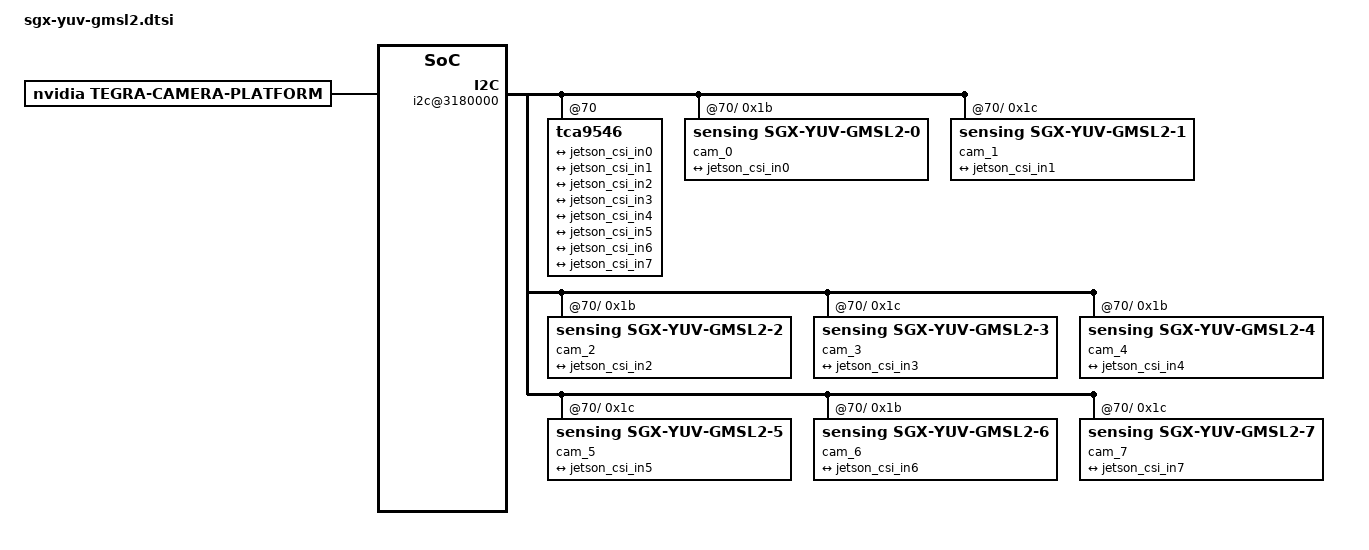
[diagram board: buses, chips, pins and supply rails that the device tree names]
/*
 * Copyright (c) 2018-2021, NVIDIA CORPORATION.  All rights reserved.
 *
 * This program is free software; you can redistribute it and/or modify it
 * under the terms and conditions of the GNU General Public License,
 * version 2, as published by the Free Software Foundation.
 *
 * This program is distributed in the hope it will be useful, but WITHOUT
 * ANY WARRANTY; without even the implied warranty of MERCHANTABILITY or
 * FITNESS FOR A PARTICULAR PURPOSE.  See the GNU General Public License for
 * more details.
 *
 * You should have received a copy of the GNU General Public License
 * along with this program.  If not, see <http://www.gnu.org/licenses/>.
 */

/ {
	tegra-capture-vi {
		num-channels = <8>;
		ports {
			#address-cells = <1>;
			#size-cells = <0>;
			port@0 {
				reg = <0>;
				jetson_vi_in0: endpoint {
					vc-id = <1>;
					port-index = <0>;
					bus-width = <4>;
					remote-endpoint = <&jetson_csi_out0>;
				};
			};
			port@1 {
				reg = <1>;
				jetson_vi_in1: endpoint {
					vc-id = <2>;
					port-index = <0>;
					bus-width = <4>;
					remote-endpoint = <&jetson_csi_out1>;
				};
			};
			port@2 {
				reg = <2>;
				jetson_vi_in2: endpoint {
					vc-id = <1>;
					port-index = <2>;
					bus-width = <4>;
					remote-endpoint = <&jetson_csi_out2>;
				};
			};
			port@3 {
				reg = <3>;
				jetson_vi_in3: endpoint {
					vc-id = <2>;
					port-index = <2>;
					bus-width = <4>;
					remote-endpoint = <&jetson_csi_out3>;
				};
			};
			port@4 {
				reg = <4>;
				jetson_vi_in4: endpoint {
					vc-id = <1>;
					port-index = <4>;
					bus-width = <4>;
					remote-endpoint = <&jetson_csi_out4>;
				};
			};
			port@5 {
				reg = <5>;
				jetson_vi_in5: endpoint {
					vc-id = <2>;
					port-index = <4>;
					bus-width = <4>;
					remote-endpoint = <&jetson_csi_out5>;
				};
			};
			port@6 {
				reg = <6>;
				jetson_vi_in6: endpoint {
					vc-id = <1>;
					port-index = <5>;
					bus-width = <4>;
					remote-endpoint = <&jetson_csi_out6>;
				};
			};
			port@7 {
				reg = <7>;
				jetson_vi_in7: endpoint {
					vc-id = <2>;
					port-index = <5>;
					bus-width = <4>;
					remote-endpoint = <&jetson_csi_out7>;
				};
			};
		};
	};
    bus@0 {
        host1x@13e00000 {
	    	nvcsi@15a00000 {
	    		num-channels = <8>;
	    		#address-cells = <1>;
	    		#size-cells = <0>;
	    		channel@0 {
	    			reg = <0>;
	    			ports {
	    				#address-cells = <1>;
	    				#size-cells = <0>;
	    				port@0 {
	    					reg = <0>;
	    					jetson_csi_in0: endpoint@0 {
	    						port-index = <0>;
	    						bus-width = <4>;
	    						remote-endpoint = <&sensor_out0>;
	    					};
	    				};
	    				port@1 {
	    					reg = <1>;
	    					jetson_csi_out0: endpoint@1 {
	    						remote-endpoint = <&jetson_vi_in0>;
	    					};
	    				};
	    			};
	    		};
	    		channel@1 {
	    			reg = <1>;
	    			ports {
	    				#address-cells = <1>;
	    				#size-cells = <0>;
	    				port@0 {
	    					reg = <0>;
	    					jetson_csi_in1: endpoint@2 {
	    						port-index = <0>;
	    						bus-width = <4>;
	    						remote-endpoint = <&sensor_out1>;
	    					};
	    				};
	    				port@1 {
	    					reg = <1>;
	    					jetson_csi_out1: endpoint@3 {
	    						remote-endpoint = <&jetson_vi_in1>;
	    					};
	    				};
	    			};
	    		};
	    		channel@2 {
	    			reg = <2>;
	    			ports {
	    				#address-cells = <1>;
	    				#size-cells = <0>;
	    				port@0 {
	    					reg = <0>;
	    					jetson_csi_in2: endpoint@4 {
	    						port-index = <2>;
	    						bus-width = <4>;
	    						remote-endpoint = <&sensor_out2>;
	    					};
	    				};
	    				port@1 {
	    					reg = <1>;
	    					jetson_csi_out2: endpoint@5 {
	    						remote-endpoint = <&jetson_vi_in2>;
	    					};
	    				};
	    			};
	    		};
	    		channel@3 {
	    			reg = <3>;
	    			ports {
	    				#address-cells = <1>;
	    				#size-cells = <0>;
	    				port@0 {
	    					reg = <0>;
	    					jetson_csi_in3: endpoint@6 {
	    						port-index = <2>;
	    						bus-width = <4>;
	    						remote-endpoint = <&sensor_out3>;
	    					};
	    				};
	    				port@1 {
	    					reg = <1>;
	    					jetson_csi_out3: endpoint@7 {
	    						remote-endpoint = <&jetson_vi_in3>;
	    					};
	    				};
	    			};
	    		};
	    		channel@4 {
	    			reg = <4>;
	    			ports {
	    				#address-cells = <1>;
	    				#size-cells = <0>;
	    				port@0 {
	    					reg = <0>;
	    					jetson_csi_in4: endpoint@8 {
	    						port-index = <4>;
	    						bus-width = <4>;
	    						remote-endpoint = <&sensor_out4>;
	    					};
	    				};
	    				port@1 {
	    					reg = <1>;
	    					jetson_csi_out4: endpoint@9 {
	    						remote-endpoint = <&jetson_vi_in4>;
	    					};
	    				};
	    			};
	    		};
	    		channel@5 {
	    			reg = <5>;
	    			ports {
	    				#address-cells = <1>;
	    				#size-cells = <0>;
	    				port@0 {
	    					reg = <0>;
	    					jetson_csi_in5: endpoint@10 {
	    						port-index = <4>;
	    						bus-width = <4>;
	    						remote-endpoint = <&sensor_out5>;
	    					};
	    				};
	    				port@1 {
	    					reg = <1>;
	    					jetson_csi_out5: endpoint@11 {
	    						remote-endpoint = <&jetson_vi_in5>;
	    					};
	    				};
	    			};
	    		};
	    		channel@6 {
	    			reg = <6>;
	    			ports {
	    				#address-cells = <1>;
	    				#size-cells = <0>;
	    				port@0 {
	    					reg = <0>;
	    					jetson_csi_in6: endpoint@12 {
	    						port-index = <6>;
	    						bus-width = <4>;
	    						remote-endpoint = <&sensor_out6>;
	    					};
	    				};
	    				port@1 {
	    					reg = <1>;
	    					jetson_csi_out6: endpoint@13 {
	    						remote-endpoint = <&jetson_vi_in6>;
	    					};
	    				};
	    			};
	    		};
	    		channel@7 {
	    			reg = <7>;
	    			ports {
	    				#address-cells = <1>;
	    				#size-cells = <0>;
	    				port@0 {
	    					reg = <0>;
	    					jetson_csi_in7: endpoint@14 {
	    						port-index = <6>;
	    						bus-width = <4>;
	    						remote-endpoint = <&sensor_out7>;
	    					};
	    				};
	    				port@1 {
	    					reg = <1>;
	    					jetson_csi_out7: endpoint@15 {
	    						remote-endpoint = <&jetson_vi_in7>;
	    					};
	    				};
	    			};
	    		};
	    	};
	    };

	    i2c@3180000 {
	    	tca9546@70 {
	    		i2c@0 {
	    			cam_0@1b {
	    				compatible = "sensing,sgx-yuv-gmsl2-0";
	    				reg = <0x1b>;
	    				def-addr = <0x1a>;
	    				devnode = "video0";

	    				/* Physical dimensions of sensor */
	    				physical_w = "15.0";
	    				physical_h = "12.5";

	    				sensor_model ="sgx-yuv-gmsl2";

	    				/* Defines number of frames to be dropped by driver internally after applying */
	    				/* sensor crop settings. Some sensors send corrupt frames after applying */
	    				/* crop co-ordinates */
	    				post_crop_frame_drop = "0";

	    				/* Convert Gain to unit of dB (decibel) befor passing to kernel driver */
	    				use_decibel_gain = "true";

	    				/* enable CID_SENSOR_MODE_ID for sensor modes selection */
	    				use_sensor_mode_id = "true";

	    				mode0 {//mode SENSOR_MODE_1920X1080_CROP_30FPS
	    					mclk_khz = "24000";
	    					num_lanes = "4";
	    					tegra_sinterface = "serial_a";
	    					vc_id = "2";
	    					discontinuous_clk = "no";
	    					dpcm_enable = "false";
	    					cil_settletime = "0";
	    					dynamic_pixel_bit_depth = "16";
	    					csi_pixel_bit_depth = "16";
	    					mode_type = "yuv";
	    					pixel_phase = "uyvy";
    
	    					active_w = "1920";
	    					active_h = "1080";
	    					readout_orientation = "0";
	    					line_length = "2200";
	    					inherent_gain = "1";
	    					pix_clk_hz = "74250000";
	    					serdes_pix_clk_hz = "300000000";

	    					gain_factor = "1000";
	    					min_gain_val = "1"; /* dB */
	    					max_gain_val = "30000"; /* dB */
	    					step_gain_val = "300"; /* 0.3 */
	    					default_gain = "1";
	    					min_hdr_ratio = "1";
	    					max_hdr_ratio = "1";
	    					framerate_factor = "1000000";
	    					min_framerate = "30000000";
	    					max_framerate = "30000000";
	    					step_framerate = "1";
	    					default_framerate = "30000000";
	    					exposure_factor = "1000000";
	    					min_exp_time = "59"; /*us, 2 lines*/
	    					max_exp_time = "33333";
	    					step_exp_time = "1";
	    					default_exp_time = "33333";/* us */
	    					embedded_metadata_height = "0";
	    				};
	    				mode1 {//sg2-gmsl2-gw5xxx(1920*1536)
	    					mclk_khz = "24000";
	    					num_lanes = "4";
	    					tegra_sinterface = "serial_a";
	    					vc_id = "1";
	    					discontinuous_clk = "no";
	    					dpcm_enable = "false";
	    					cil_settletime = "0";
	    					dynamic_pixel_bit_depth = "16";
	    					csi_pixel_bit_depth = "16";
	    					mode_type = "yuv";
	    					pixel_phase = "uyvy";
    
	    					active_w = "1920";
	    					active_h = "1536";
	    					readout_orientation = "0";
	    					line_length = "2200";
	    					inherent_gain = "1";
	    					pix_clk_hz = "200000000";
	    					serdes_pix_clk_hz = "200000000";

	    					gain_factor = "1000";
	    					min_gain_val = "1"; /* dB */
	    					max_gain_val = "30000"; /* dB */
	    					step_gain_val = "300"; /* 0.3 */
	    					default_gain = "1";
	    					min_hdr_ratio = "1";
	    					max_hdr_ratio = "1";
	    					framerate_factor = "1000000";
	    					min_framerate = "30000000";
	    					max_framerate = "30000000";
	    					step_framerate = "1";
	    					default_framerate = "30000000";
	    					exposure_factor = "1000000";
	    					min_exp_time = "59"; /*us, 2 lines*/
	    					max_exp_time = "33333";
	    					step_exp_time = "1";
	    					default_exp_time = "33333";/* us */
	    					embedded_metadata_height = "0";
	    				};
	    				mode2 {//sg2-gmsl2-gw5xxx(2880*1680)
	    					mclk_khz = "24000";
	    					num_lanes = "4";
	    					tegra_sinterface = "serial_a";
	    					vc_id = "1";
	    					discontinuous_clk = "no";
	    					dpcm_enable = "false";
	    					cil_settletime = "0";
	    					dynamic_pixel_bit_depth = "16";
	    					csi_pixel_bit_depth = "16";
	    					mode_type = "yuv";
	    					pixel_phase = "uyvy";
    
	    					active_w = "2880";
	    					active_h = "1860";
	    					readout_orientation = "0";
	    					line_length = "3200";
	    					inherent_gain = "1";
	    					pix_clk_hz = "300000000";
	    					serdes_pix_clk_hz = "400000000";

	    					gain_factor = "1000";
	    					min_gain_val = "1"; /* dB */
	    					max_gain_val = "30000"; /* dB */
	    					step_gain_val = "300"; /* 0.3 */
	    					default_gain = "1";
	    					min_hdr_ratio = "1";
	    					max_hdr_ratio = "1";
	    					framerate_factor = "1000000";
	    					min_framerate = "30000000";
	    					max_framerate = "30000000";
	    					step_framerate = "1";
	    					default_framerate = "30000000";
	    					exposure_factor = "1000000";
	    					min_exp_time = "59"; /*us, 2 lines*/
	    					max_exp_time = "33333";
	    					step_exp_time = "1";
	    					default_exp_time = "33333";/* us */
	    					embedded_metadata_height = "0";
	    				};
	    				mode3 {//sg2-gmsl2-gw5xxx(3840*2160)
	    					mclk_khz = "24000";
	    					num_lanes = "4";
	    					tegra_sinterface = "serial_a";
	    					vc_id = "1";
	    					discontinuous_clk = "no";
	    					dpcm_enable = "false";
	    					cil_settletime = "0";
	    					dynamic_pixel_bit_depth = "16";
	    					csi_pixel_bit_depth = "16";
	    					mode_type = "yuv";
	    					pixel_phase = "uyvy";
	    					//
	    					active_w = "3840";
	    					active_h = "2160";
	    					readout_orientation = "0";
	    					line_length = "4200";
	    					inherent_gain = "1";
	    					pix_clk_hz = "320000000";
	    					serdes_pix_clk_hz = "600000000";

	    					gain_factor = "1000";
	    					min_gain_val = "1"; /* dB */
	    					max_gain_val = "30000"; /* dB */
	    					step_gain_val = "300"; /* 0.3 */
	    					default_gain = "1";
	    					min_hdr_ratio = "1";
	    					max_hdr_ratio = "1";
	    					framerate_factor = "1000000";
	    					min_framerate = "30000000";
	    					max_framerate = "30000000";
	    					step_framerate = "1";
	    					default_framerate = "30000000";
	    					exposure_factor = "1000000";
	    					min_exp_time = "59"; /*us, 2 lines*/
	    					max_exp_time = "33333";
	    					step_exp_time = "1";
	    					default_exp_time = "33333";/* us */
	    					embedded_metadata_height = "0";
	    				};
	    				ports {
	    					#address-cells = <1>;
	    					#size-cells = <0>;
	    					port@0 {
	    						reg = <0>;
	    						sensor_out0: endpoint {
	    							vc-id = <1>;
	    							port-index = <0>;
	    							bus-width = <4>;
	    							remote-endpoint = <&jetson_csi_in0>;
	    						};
	    					};
	    				};
	    				gmsl-link {
	    					src-csi-port = "b";
	    					dst-csi-port = "a";
	    					serdes-csi-link = "a";
	    					csi-mode = "1x4";
	    					st-vc = <0>;
	    					vc-id = <1>;
	    					num-lanes = <4>;
	    					streams = "ued-u1","yuv16";
	    				};
	    			};
	    			cam_1@1c {
	    				compatible = "sensing,sgx-yuv-gmsl2-1";
	    				reg = <0x1c>;
	    				def-addr = <0x1a>;
	    				devnode = "video1";

	    				/* Physical dimensions of sensor */
	    				physical_w = "15.0";
	    				physical_h = "12.5";

	    				sensor_model ="sgx-yuv-gmsl2";

	    				/* Defines number of frames to be dropped by driver internally after applying */
	    				/* sensor crop settings. Some sensors send corrupt frames after applying */
	    				/* crop co-ordinates */
	    				post_crop_frame_drop = "0";

	    				/* Convert Gain to unit of dB (decibel) befor passing to kernel driver */
	    				use_decibel_gain = "true";

	    				/* enable CID_SENSOR_MODE_ID for sensor modes selection */
	    				use_sensor_mode_id = "true";

	    				mode0 {//mode SENSOR_MODE_1920X1080_CROP_30FPS
	    					mclk_khz = "24000";
	    					num_lanes = "4";
	    					tegra_sinterface = "serial_a";
	    					vc_id = "2";
	    					discontinuous_clk = "no";
	    					dpcm_enable = "false";
	    					cil_settletime = "0";
	    					dynamic_pixel_bit_depth = "16";
	    					csi_pixel_bit_depth = "16";
	    					mode_type = "yuv";
	    					pixel_phase = "uyvy";
    
	    					active_w = "1920";
	    					active_h = "1080";
	    					readout_orientation = "0";
	    					line_length = "2200";
	    					inherent_gain = "1";
	    					pix_clk_hz = "74250000";
	    					serdes_pix_clk_hz = "300000000";

	    					gain_factor = "1000";
	    					min_gain_val = "1"; /* dB */
	    					max_gain_val = "30000"; /* dB */
	    					step_gain_val = "300"; /* 0.3 */
	    					default_gain = "1";
	    					min_hdr_ratio = "1";
	    					max_hdr_ratio = "1";
	    					framerate_factor = "1000000";
	    					min_framerate = "30000000";
	    					max_framerate = "30000000";
	    					step_framerate = "1";
	    					default_framerate = "30000000";
	    					exposure_factor = "1000000";
	    					min_exp_time = "59"; /*us, 2 lines*/
	    					max_exp_time = "33333";
	    					step_exp_time = "1";
	    					default_exp_time = "33333";/* us */
	    					embedded_metadata_height = "0";
	    				};
	    				mode1 {//sg2-gmsl2-gw5xxx(1920*1536)
	    					mclk_khz = "24000";
	    					num_lanes = "4";
	    					tegra_sinterface = "serial_a";
	    					vc_id = "2";
	    					discontinuous_clk = "no";
	    					dpcm_enable = "false";
	    					cil_settletime = "0";
	    					dynamic_pixel_bit_depth = "16";
	    					csi_pixel_bit_depth = "16";
	    					mode_type = "yuv";
	    					pixel_phase = "uyvy";
    
	    					active_w = "1920";
	    					active_h = "1536";
	    					readout_orientation = "0";
	    					line_length = "2200";
	    					inherent_gain = "1";
	    					pix_clk_hz = "200000000";
	    					serdes_pix_clk_hz = "200000000";

	    					gain_factor = "1000";
	    					min_gain_val = "1"; /* dB */
	    					max_gain_val = "30000"; /* dB */
	    					step_gain_val = "300"; /* 0.3 */
	    					default_gain = "1";
	    					min_hdr_ratio = "1";
	    					max_hdr_ratio = "1";
	    					framerate_factor = "1000000";
	    					min_framerate = "30000000";
	    					max_framerate = "30000000";
	    					step_framerate = "1";
	    					default_framerate = "30000000";
	    					exposure_factor = "1000000";
	    					min_exp_time = "59"; /*us, 2 lines*/
	    					max_exp_time = "33333";
	    					step_exp_time = "1";
	    					default_exp_time = "33333";/* us */
	    					embedded_metadata_height = "0";
	    				};
	    				mode2 {//sg2-gmsl2-gw5xxx(2880*1680)
	    					mclk_khz = "24000";
	    					num_lanes = "4";
	    					tegra_sinterface = "serial_a";
	    					vc_id = "2";
	    					discontinuous_clk = "no";
	    					dpcm_enable = "false";
	    					cil_settletime = "0";
	    					dynamic_pixel_bit_depth = "16";
	    					csi_pixel_bit_depth = "16";
	    					mode_type = "yuv";
	    					pixel_phase = "uyvy";
    
	    					active_w = "2880";
	    					active_h = "1860";
	    					readout_orientation = "0";
	    					line_length = "3200";
	    					inherent_gain = "1";
	    					pix_clk_hz = "300000000";
	    					serdes_pix_clk_hz = "400000000";

	    					gain_factor = "1000";
	    					min_gain_val = "1"; /* dB */
	    					max_gain_val = "30000"; /* dB */
	    					step_gain_val = "300"; /* 0.3 */
	    					default_gain = "1";
	    					min_hdr_ratio = "1";
	    					max_hdr_ratio = "1";
	    					framerate_factor = "1000000";
	    					min_framerate = "30000000";
	    					max_framerate = "30000000";
	    					step_framerate = "1";
	    					default_framerate = "30000000";
	    					exposure_factor = "1000000";
	    					min_exp_time = "59"; /*us, 2 lines*/
	    					max_exp_time = "33333";
	    					step_exp_time = "1";
	    					default_exp_time = "33333";/* us */
	    					embedded_metadata_height = "0";
	    				};
	    				mode3 {//sg2-gmsl2-gw5xxx(3840*2160)
	    					mclk_khz = "24000";
	    					num_lanes = "4";
	    					tegra_sinterface = "serial_a";
	    					vc_id = "2";
	    					discontinuous_clk = "no";
	    					dpcm_enable = "false";
	    					cil_settletime = "0";
	    					dynamic_pixel_bit_depth = "16";
	    					csi_pixel_bit_depth = "16";
	    					mode_type = "yuv";
	    					pixel_phase = "uyvy";
	    					//
	    					active_w = "3840";
	    					active_h = "2160";
	    					readout_orientation = "0";
	    					line_length = "4200";
	    					inherent_gain = "1";
	    					pix_clk_hz = "320000000";
	    					serdes_pix_clk_hz = "600000000";

	    					gain_factor = "1000";
	    					min_gain_val = "1"; /* dB */
	    					max_gain_val = "30000"; /* dB */
	    					step_gain_val = "300"; /* 0.3 */
	    					default_gain = "1";
	    					min_hdr_ratio = "1";
	    					max_hdr_ratio = "1";
	    					framerate_factor = "1000000";
	    					min_framerate = "30000000";
	    					max_framerate = "30000000";
	    					step_framerate = "1";
	    					default_framerate = "30000000";
	    					exposure_factor = "1000000";
	    					min_exp_time = "59"; /*us, 2 lines*/
	    					max_exp_time = "33333";
	    					step_exp_time = "1";
	    					default_exp_time = "33333";/* us */
	    					embedded_metadata_height = "0";
	    				};
    
	    				ports {
	    					#address-cells = <1>;
	    					#size-cells = <0>;
	    					port@0 {
	    						reg = <0>;
	    						sensor_out1: endpoint {
	    							vc-id = <2>;
	    							port-index = <0>;
	    							bus-width = <4>;
	    							remote-endpoint = <&jetson_csi_in1>;
	    						};
	    					};
	    				};
	    				gmsl-link {
	    					src-csi-port = "b";
	    					dst-csi-port = "a";
	    					serdes-csi-link = "b";
	    					csi-mode = "1x4";
	    					st-vc = <0>;
	    					vc-id = <2>;
	    					num-lanes = <4>;
	    					streams =  "ued-u1", "yuv16";
	    				};
	    			};
	    		};
	    		i2c@1 {
	    			cam_2@1b {
	    				compatible = "sensing,sgx-yuv-gmsl2-2";
	    				reg = <0x1b>;
	    				def-addr = <0x1a>;
	    				devnode = "video2";

	    				/* Physical dimensions of sensor */
	    				physical_w = "15.0";
	    				physical_h = "12.5";

	    				sensor_model ="sgx-yuv-gmsl2";

	    				/* Defines number of frames to be dropped by driver internally after applying */
	    				/* sensor crop settings. Some sensors send corrupt frames after applying */
	    				/* crop co-ordinates */
	    				post_crop_frame_drop = "0";

	    				/* Convert Gain to unit of dB (decibel) befor passing to kernel driver */
	    				use_decibel_gain = "true";

	    				/* enable CID_SENSOR_MODE_ID for sensor modes selection */
	    				use_sensor_mode_id = "true";

	    				mode0 {/*mode SENSOR_MODE_1920X1080_CROP_30FPS*/
	    					mclk_khz = "24000";
	    					num_lanes = "4";
	    					tegra_sinterface = "serial_c";
	    					vc_id = "1";
	    					discontinuous_clk = "no";
	    					dpcm_enable = "false";
	    					cil_settletime = "0";
	    					dynamic_pixel_bit_depth = "16";
	    					csi_pixel_bit_depth = "16";
	    					mode_type = "yuv";
	    					pixel_phase = "uyvy";
    
	    					active_w = "1920";
	    					active_h = "1080";
	    					readout_orientation = "0";
	    					line_length = "2200";
	    					inherent_gain = "1";
	    					pix_clk_hz = "150000000";
	    					serdes_pix_clk_hz = "300000000";

	    					gain_factor = "1000";
	    					min_gain_val = "1"; /* dB */
	    					max_gain_val = "30000"; /* dB */
	    					step_gain_val = "300"; /* 0.3 */
	    					default_gain = "1";
	    					min_hdr_ratio = "1";
	    					max_hdr_ratio = "1";
	    					framerate_factor = "1000000";
	    					min_framerate = "30000000";
	    					max_framerate = "30000000";
	    					step_framerate = "1";
	    					default_framerate = "30000000";
	    					exposure_factor = "1000000";
	    					min_exp_time = "59"; /*us, 2 lines*/
	    					max_exp_time = "33333";
	    					step_exp_time = "1";
	    					default_exp_time = "33333";/* us */
	    					embedded_metadata_height = "0";
	    				};
	    				mode1 {//sg2-gmsl2-gw5xxx(1920*1536)
	    					mclk_khz = "24000";
	    					num_lanes = "4";
	    					tegra_sinterface = "serial_c";
	    					vc_id = "1";
	    					discontinuous_clk = "no";
	    					dpcm_enable = "false";
	    					cil_settletime = "0";
	    					dynamic_pixel_bit_depth = "16";
	    					csi_pixel_bit_depth = "16";
	    					mode_type = "yuv";
	    					pixel_phase = "uyvy";
    
	    					active_w = "1920";
	    					active_h = "1536";
	    					readout_orientation = "0";
	    					line_length = "2200";
	    					inherent_gain = "1";
	    					pix_clk_hz = "200000000";
	    					serdes_pix_clk_hz = "200000000";

	    					gain_factor = "1000";
	    					min_gain_val = "1"; /* dB */
	    					max_gain_val = "30000"; /* dB */
	    					step_gain_val = "300"; /* 0.3 */
	    					default_gain = "1";
	    					min_hdr_ratio = "1";
	    					max_hdr_ratio = "1";
	    					framerate_factor = "1000000";
	    					min_framerate = "30000000";
	    					max_framerate = "30000000";
	    					step_framerate = "1";
	    					default_framerate = "30000000";
	    					exposure_factor = "1000000";
	    					min_exp_time = "59"; /*us, 2 lines*/
	    					max_exp_time = "33333";
	    					step_exp_time = "1";
	    					default_exp_time = "33333";/* us */
	    					embedded_metadata_height = "0";
	    				};
	    				mode2 {//sg2-gmsl2-gw5xxx(2880*1680)
	    					mclk_khz = "24000";
	    					num_lanes = "4";
	    					tegra_sinterface = "serial_c";
	    					vc_id = "1";
	    					discontinuous_clk = "no";
	    					dpcm_enable = "false";
	    					cil_settletime = "0";
	    					dynamic_pixel_bit_depth = "16";
	    					csi_pixel_bit_depth = "16";
	    					mode_type = "yuv";
	    					pixel_phase = "uyvy";
    
	    					active_w = "2880";
	    					active_h = "1860";
	    					readout_orientation = "0";
	    					line_length = "3200";
	    					inherent_gain = "1";
	    					pix_clk_hz = "300000000";
	    					serdes_pix_clk_hz = "400000000";

	    					gain_factor = "1000";
	    					min_gain_val = "1"; /* dB */
	    					max_gain_val = "30000"; /* dB */
	    					step_gain_val = "300"; /* 0.3 */
	    					default_gain = "1";
	    					min_hdr_ratio = "1";
	    					max_hdr_ratio = "1";
	    					framerate_factor = "1000000";
	    					min_framerate = "30000000";
	    					max_framerate = "30000000";
	    					step_framerate = "1";
	    					default_framerate = "30000000";
	    					exposure_factor = "1000000";
	    					min_exp_time = "59"; /*us, 2 lines*/
	    					max_exp_time = "33333";
	    					step_exp_time = "1";
	    					default_exp_time = "33333";/* us */
	    					embedded_metadata_height = "0";
	    				};
	    				mode3 {//sg2-gmsl2-gw5xxx(3840*2160)
	    					mclk_khz = "24000";
	    					num_lanes = "4";
	    					tegra_sinterface = "serial_c";
	    					vc_id = "1";
	    					discontinuous_clk = "no";
	    					dpcm_enable = "false";
	    					cil_settletime = "0";
	    					dynamic_pixel_bit_depth = "16";
	    					csi_pixel_bit_depth = "16";
	    					mode_type = "yuv";
	    					pixel_phase = "uyvy";
	    					//
	    					active_w = "3840";
	    					active_h = "2160";
	    					readout_orientation = "0";
	    					line_length = "4200";
	    					inherent_gain = "1";
	    					pix_clk_hz = "320000000";
	    					serdes_pix_clk_hz = "600000000";

	    					gain_factor = "1000";
	    					min_gain_val = "1"; /* dB */
	    					max_gain_val = "30000"; /* dB */
	    					step_gain_val = "300"; /* 0.3 */
	    					default_gain = "1";
	    					min_hdr_ratio = "1";
	    					max_hdr_ratio = "1";
	    					framerate_factor = "1000000";
	    					min_framerate = "30000000";
	    					max_framerate = "30000000";
	    					step_framerate = "1";
	    					default_framerate = "30000000";
	    					exposure_factor = "1000000";
	    					min_exp_time = "59"; /*us, 2 lines*/
	    					max_exp_time = "33333";
	    					step_exp_time = "1";
	    					default_exp_time = "33333";/* us */
	    					embedded_metadata_height = "0";
	    				};
	    				ports {
	    					#address-cells = <1>;
	    					#size-cells = <0>;
	    					port@0 {
	    						reg = <0>;
	    						sensor_out2: endpoint {
	    							vc-id = <1>;
	    							port-index = <2>;
	    							bus-width = <4>;
	    							remote-endpoint = <&jetson_csi_in2>;
	    						};
	    					};
	    				};
	    				gmsl-link {
	    					src-csi-port = "b";
	    					dst-csi-port = "a";
	    					serdes-csi-link = "a";
	    					csi-mode = "1x4";
	    					st-vc = <0>;
	    					vc-id = <1>;
	    					num-lanes = <4>;
	    					streams = "ued-u1","yuv16";
	    				};
	    			};
	    			cam_3@1c {
	    				compatible = "sensing,sgx-yuv-gmsl2-3";
	    				reg = <0x1c>;
	    				def-addr = <0x1a>;
	    				devnode = "video3";

	    				/* Physical dimensions of sensor */
	    				physical_w = "15.0";
	    				physical_h = "12.5";

	    				sensor_model ="sgx-yuv-gmsl2";

	    				/* Defines number of frames to be dropped by driver internally after applying */
	    				/* sensor crop settings. Some sensors send corrupt frames after applying */
	    				/* crop co-ordinates */
	    				post_crop_frame_drop = "0";

	    				/* Convert Gain to unit of dB (decibel) befor passing to kernel driver */
	    				use_decibel_gain = "true";

	    				/* enable CID_SENSOR_MODE_ID for sensor modes selection */
	    				use_sensor_mode_id = "true";

	    				mode0 {/*mode SENSOR_MODE_1920X1080_CROP_30FPS*/
	    					mclk_khz = "24000";
	    					num_lanes = "4";
	    					tegra_sinterface = "serial_c";
	    					vc_id = "2";
	    					discontinuous_clk = "no";
	    					dpcm_enable = "false";
	    					cil_settletime = "0";
	    					dynamic_pixel_bit_depth = "16";
	    					csi_pixel_bit_depth = "16";
	    					mode_type = "yuv";
	    					pixel_phase = "uyvy";
    
	    					active_w = "1920";
	    					active_h = "1080";
	    					readout_orientation = "0";
	    					line_length = "2200";
	    					inherent_gain = "1";
	    					pix_clk_hz = "150000000";
	    					serdes_pix_clk_hz = "300000000";

	    					gain_factor = "1000";
	    					min_gain_val = "1"; /* dB */
	    					max_gain_val = "30000"; /* dB */
	    					step_gain_val = "300"; /* 0.3 */
	    					default_gain = "1";
	    					min_hdr_ratio = "1";
	    					max_hdr_ratio = "1";
	    					framerate_factor = "1000000";
	    					min_framerate = "30000000";
	    					max_framerate = "30000000";
	    					step_framerate = "1";
	    					default_framerate = "30000000";
	    					exposure_factor = "1000000";
	    					min_exp_time = "59"; /*us, 2 lines*/
	    					max_exp_time = "33333";
	    					step_exp_time = "1";
	    					default_exp_time = "33333";/* us */
	    					embedded_metadata_height = "0";
	    				};
	    				mode1 {//sg2-gmsl2-gw5xxx(1920*1536)
	    					mclk_khz = "24000";
	    					num_lanes = "4";
	    					tegra_sinterface = "serial_c";
	    					vc_id = "2";
	    					discontinuous_clk = "no";
	    					dpcm_enable = "false";
	    					cil_settletime = "0";
	    					dynamic_pixel_bit_depth = "16";
	    					csi_pixel_bit_depth = "16";
	    					mode_type = "yuv";
	    					pixel_phase = "uyvy";
    
	    					active_w = "1920";
	    					active_h = "1536";
	    					readout_orientation = "0";
	    					line_length = "2200";
	    					inherent_gain = "1";
	    					pix_clk_hz = "200000000";
	    					serdes_pix_clk_hz = "200000000";

	    					gain_factor = "1000";
	    					min_gain_val = "1"; /* dB */
	    					max_gain_val = "30000"; /* dB */
	    					step_gain_val = "300"; /* 0.3 */
	    					default_gain = "1";
	    					min_hdr_ratio = "1";
	    					max_hdr_ratio = "1";
	    					framerate_factor = "1000000";
	    					min_framerate = "30000000";
	    					max_framerate = "30000000";
	    					step_framerate = "1";
	    					default_framerate = "30000000";
	    					exposure_factor = "1000000";
	    					min_exp_time = "59"; /*us, 2 lines*/
	    					max_exp_time = "33333";
	    					step_exp_time = "1";
	    					default_exp_time = "33333";/* us */
	    					embedded_metadata_height = "0";
	    				};
	    				mode2 {//sg2-gmsl2-gw5xxx(2880*1680)
	    					mclk_khz = "24000";
	    					num_lanes = "4";
	    					tegra_sinterface = "serial_c";
	    					vc_id = "2";
	    					discontinuous_clk = "no";
	    					dpcm_enable = "false";
	    					cil_settletime = "0";
	    					dynamic_pixel_bit_depth = "16";
	    					csi_pixel_bit_depth = "16";
	    					mode_type = "yuv";
	    					pixel_phase = "uyvy";
    
	    					active_w = "2880";
	    					active_h = "1860";
	    					readout_orientation = "0";
	    					line_length = "3200";
	    					inherent_gain = "1";
	    					pix_clk_hz = "300000000";
	    					serdes_pix_clk_hz = "400000000";

	    					gain_factor = "1000";
	    					min_gain_val = "1"; /* dB */
	    					max_gain_val = "30000"; /* dB */
	    					step_gain_val = "300"; /* 0.3 */
	    					default_gain = "1";
	    					min_hdr_ratio = "1";
	    					max_hdr_ratio = "1";
	    					framerate_factor = "1000000";
	    					min_framerate = "30000000";
	    					max_framerate = "30000000";
	    					step_framerate = "1";
	    					default_framerate = "30000000";
	    					exposure_factor = "1000000";
	    					min_exp_time = "59"; /*us, 2 lines*/
	    					max_exp_time = "33333";
	    					step_exp_time = "1";
	    					default_exp_time = "33333";/* us */
	    					embedded_metadata_height = "0";
	    				};
	    				mode3 {//sg2-gmsl2-gw5xxx(3840*2160)
	    					mclk_khz = "24000";
	    					num_lanes = "4";
	    					tegra_sinterface = "serial_c";
	    					vc_id = "2";
	    					discontinuous_clk = "no";
	    					dpcm_enable = "false";
	    					cil_settletime = "0";
	    					dynamic_pixel_bit_depth = "16";
	    					csi_pixel_bit_depth = "16";
	    					mode_type = "yuv";
	    					pixel_phase = "uyvy";
	    					//
	    					active_w = "3840";
	    					active_h = "2160";
	    					readout_orientation = "0";
	    					line_length = "4200";
	    					inherent_gain = "1";
	    					pix_clk_hz = "320000000";
	    					serdes_pix_clk_hz = "600000000";

	    					gain_factor = "1000";
	    					min_gain_val = "1"; /* dB */
	    					max_gain_val = "30000"; /* dB */
	    					step_gain_val = "300"; /* 0.3 */
	    					default_gain = "1";
	    					min_hdr_ratio = "1";
	    					max_hdr_ratio = "1";
	    					framerate_factor = "1000000";
	    					min_framerate = "30000000";
	    					max_framerate = "30000000";
	    					step_framerate = "1";
	    					default_framerate = "30000000";
	    					exposure_factor = "1000000";
	    					min_exp_time = "59"; /*us, 2 lines*/
	    					max_exp_time = "33333";
	    					step_exp_time = "1";
	    					default_exp_time = "33333";/* us */
	    					embedded_metadata_height = "0";
	    				};
	    				ports {
	    					#address-cells = <1>;
	    					#size-cells = <0>;
	    					port@0 {
	    						reg = <0>;
	    						sensor_out3: endpoint {
	    							vc-id = <2>;
	    							port-index = <2>;
	    							bus-width = <4>;
	    							remote-endpoint = <&jetson_csi_in3>;
	    						};
	    					};
	    				};
	    				gmsl-link {
	    					src-csi-port = "b";
	    					dst-csi-port = "a";
	    					serdes-csi-link = "b";
	    					csi-mode = "1x4";
	    					st-vc = <0>;
	    					vc-id = <2>;
	    					num-lanes = <4>;
	    					streams = "ued-u1", "yuv16";
	    				};
	    			};
	    		};
	    		i2c@2 {
	    			cam_4@1b {
	    				compatible = "sensing,sgx-yuv-gmsl2-4";
	    				reg = <0x1b>;
	    				def-addr = <0x1a>;
	    				devnode = "video4";

	    				/* Physical dimensions of sensor */
	    				physical_w = "15.0";
	    				physical_h = "12.5";

	    				sensor_model ="sgx-yuv-gmsl2";

	    				/* Defines number of frames to be dropped by driver internally after applying */
	    				/* sensor crop settings. Some sensors send corrupt frames after applying */
	    				/* crop co-ordinates */
	    				post_crop_frame_drop = "0";

	    				/* Convert Gain to unit of dB (decibel) befor passing to kernel driver */
	    				use_decibel_gain = "true";

	    				/* enable CID_SENSOR_MODE_ID for sensor modes selection */
	    				use_sensor_mode_id = "true";

	    				mode0 {/*mode SENSOR_MODE_1920X1080_CROP_30FPS*/
	    					mclk_khz = "24000";
	    					num_lanes = "4";
	    					tegra_sinterface = "serial_e";
	    					vc_id = "1";
	    					discontinuous_clk = "no";
	    					dpcm_enable = "false";
	    					cil_settletime = "0";
	    					dynamic_pixel_bit_depth = "16";
	    					csi_pixel_bit_depth = "16";
	    					mode_type = "yuv";
	    					pixel_phase = "uyvy";
    
	    					active_w = "1920";
	    					active_h = "1080";
	    					readout_orientation = "0";
	    					line_length = "2200";
	    					inherent_gain = "1";
	    					pix_clk_hz = "150000000";
	    					serdes_pix_clk_hz = "300000000";

	    					gain_factor = "1000";
	    					min_gain_val = "1"; /* dB */
	    					max_gain_val = "30000"; /* dB */
	    					step_gain_val = "300"; /* 0.3 */
	    					default_gain = "1";
	    					min_hdr_ratio = "1";
	    					max_hdr_ratio = "1";
	    					framerate_factor = "1000000";
	    					min_framerate = "30000000";
	    					max_framerate = "30000000";
	    					step_framerate = "1";
	    					default_framerate = "30000000";
	    					exposure_factor = "1000000";
	    					min_exp_time = "59"; /*us, 2 lines*/
	    					max_exp_time = "33333";
	    					step_exp_time = "1";
	    					default_exp_time = "33333";/* us */
	    					embedded_metadata_height = "0";
	    				};
	    				mode1 {//sg2-gmsl2-gw5xxx(1920*1536)
	    					mclk_khz = "24000";
	    					num_lanes = "4";
	    					tegra_sinterface = "serial_e";
	    					vc_id = "1";
	    					discontinuous_clk = "no";
	    					dpcm_enable = "false";
	    					cil_settletime = "0";
	    					dynamic_pixel_bit_depth = "16";
	    					csi_pixel_bit_depth = "16";
	    					mode_type = "yuv";
	    					pixel_phase = "uyvy";
    
	    					active_w = "1920";
	    					active_h = "1536";
	    					readout_orientation = "0";
	    					line_length = "2200";
	    					inherent_gain = "1";
	    					pix_clk_hz = "200000000";
	    					serdes_pix_clk_hz = "200000000";

	    					gain_factor = "1000";
	    					min_gain_val = "1"; /* dB */
	    					max_gain_val = "30000"; /* dB */
	    					step_gain_val = "300"; /* 0.3 */
	    					default_gain = "1";
	    					min_hdr_ratio = "1";
	    					max_hdr_ratio = "1";
	    					framerate_factor = "1000000";
	    					min_framerate = "30000000";
	    					max_framerate = "30000000";
	    					step_framerate = "1";
	    					default_framerate = "30000000";
	    					exposure_factor = "1000000";
	    					min_exp_time = "59"; /*us, 2 lines*/
	    					max_exp_time = "33333";
	    					step_exp_time = "1";
	    					default_exp_time = "33333";/* us */
	    					embedded_metadata_height = "0";
	    				};
	    				mode2 {//sg2-gmsl2-gw5xxx(2880*1680)
	    					mclk_khz = "24000";
	    					num_lanes = "4";
	    					tegra_sinterface = "serial_e";
	    					vc_id = "1";
	    					discontinuous_clk = "no";
	    					dpcm_enable = "false";
	    					cil_settletime = "0";
	    					dynamic_pixel_bit_depth = "16";
	    					csi_pixel_bit_depth = "16";
	    					mode_type = "yuv";
	    					pixel_phase = "uyvy";
    
	    					active_w = "2880";
	    					active_h = "1860";
	    					readout_orientation = "0";
	    					line_length = "3200";
	    					inherent_gain = "1";
	    					pix_clk_hz = "300000000";
	    					serdes_pix_clk_hz = "400000000";

	    					gain_factor = "1000";
	    					min_gain_val = "1"; /* dB */
	    					max_gain_val = "30000"; /* dB */
	    					step_gain_val = "300"; /* 0.3 */
	    					default_gain = "1";
	    					min_hdr_ratio = "1";
	    					max_hdr_ratio = "1";
	    					framerate_factor = "1000000";
	    					min_framerate = "30000000";
	    					max_framerate = "30000000";
	    					step_framerate = "1";
	    					default_framerate = "30000000";
	    					exposure_factor = "1000000";
	    					min_exp_time = "59"; /*us, 2 lines*/
	    					max_exp_time = "33333";
	    					step_exp_time = "1";
	    					default_exp_time = "33333";/* us */
	    					embedded_metadata_height = "0";
	    				};
	    				mode3 {//sg2-gmsl2-gw5xxx(3840*2160)
	    					mclk_khz = "24000";
	    					num_lanes = "4";
	    					tegra_sinterface = "serial_e";
	    					vc_id = "1";
	    					discontinuous_clk = "no";
	    					dpcm_enable = "false";
	    					cil_settletime = "0";
	    					dynamic_pixel_bit_depth = "16";
	    					csi_pixel_bit_depth = "16";
	    					mode_type = "yuv";
	    					pixel_phase = "uyvy";
	    					//
	    					active_w = "3840";
	    					active_h = "2160";
	    					readout_orientation = "0";
	    					line_length = "4200";
	    					inherent_gain = "1";
	    					pix_clk_hz = "320000000";
	    					serdes_pix_clk_hz = "600000000";

	    					gain_factor = "1000";
	    					min_gain_val = "1"; /* dB */
	    					max_gain_val = "30000"; /* dB */
	    					step_gain_val = "300"; /* 0.3 */
	    					default_gain = "1";
	    					min_hdr_ratio = "1";
	    					max_hdr_ratio = "1";
	    					framerate_factor = "1000000";
	    					min_framerate = "30000000";
	    					max_framerate = "30000000";
	    					step_framerate = "1";
	    					default_framerate = "30000000";
	    					exposure_factor = "1000000";
	    					min_exp_time = "59"; /*us, 2 lines*/
	    					max_exp_time = "33333";
	    					step_exp_time = "1";
	    					default_exp_time = "33333";/* us */
	    					embedded_metadata_height = "0";
	    				};
	    				ports {
	    					#address-cells = <1>;
	    					#size-cells = <0>;
	    					port@0 {
	    						reg = <0>;
	    						sensor_out4: endpoint {
	    							vc-id = <1>;
	    							port-index = <4>;
	    							bus-width = <4>;
	    							remote-endpoint = <&jetson_csi_in4>;
	    						};
	    					};
	    				};
	    				gmsl-link {
	    					src-csi-port = "b";
	    					dst-csi-port = "a";
	    					serdes-csi-link = "a";
	    					csi-mode = "1x4";
	    					st-vc = <0>;
	    					vc-id = <1>;
	    					num-lanes = <4>;
	    					streams = "ued-u1","yuv16";
	    				};
	    			};
	    			cam_5@1c {
	    				compatible = "sensing,sgx-yuv-gmsl2-5";
	    				reg = <0x1c>;
	    				def-addr = <0x1a>;
	    				devnode = "video5";

	    				/* Physical dimensions of sensor */
	    				physical_w = "15.0";
	    				physical_h = "12.5";

	    				sensor_model ="sgx-yuv-gmsl2";

	    				/* Defines number of frames to be dropped by driver internally after applying */
	    				/* sensor crop settings. Some sensors send corrupt frames after applying */
	    				/* crop co-ordinates */
	    				post_crop_frame_drop = "0";

	    				/* Convert Gain to unit of dB (decibel) befor passing to kernel driver */
	    				use_decibel_gain = "true";

	    				/* enable CID_SENSOR_MODE_ID for sensor modes selection */
	    				use_sensor_mode_id = "true";

	    				mode0 {/*mode SENSOR_MODE_1920X1080_CROP_30FPS*/
	    					mclk_khz = "24000";
	    					num_lanes = "4";
	    					tegra_sinterface = "serial_e";
	    					vc_id = "2";
	    					discontinuous_clk = "no";
	    					dpcm_enable = "false";
	    					cil_settletime = "0";
	    					dynamic_pixel_bit_depth = "16";
	    					csi_pixel_bit_depth = "16";
	    					mode_type = "yuv";
	    					pixel_phase = "uyvy";
    
	    					active_w = "1920";
	    					active_h = "1080";
	    					readout_orientation = "0";
	    					line_length = "2200";
	    					inherent_gain = "1";
	    					pix_clk_hz = "150000000";
	    					serdes_pix_clk_hz = "300000000";

	    					gain_factor = "1000";
	    					min_gain_val = "1"; /* dB */
	    					max_gain_val = "30000"; /* dB */
	    					step_gain_val = "300"; /* 0.3 */
	    					default_gain = "1";
	    					min_hdr_ratio = "1";
	    					max_hdr_ratio = "1";
	    					framerate_factor = "1000000";
	    					min_framerate = "30000000";
	    					max_framerate = "30000000";
	    					step_framerate = "1";
	    					default_framerate = "30000000";
	    					exposure_factor = "1000000";
	    					min_exp_time = "59"; /*us, 2 lines*/
	    					max_exp_time = "33333";
	    					step_exp_time = "1";
	    					default_exp_time = "33333";/* us */
	    					embedded_metadata_height = "0";
	    				};
	    				mode1 {//sg2-gmsl2-gw5xxx(1920*1536)
	    					mclk_khz = "24000";
	    					num_lanes = "4";
	    					tegra_sinterface = "serial_e";
	    					vc_id = "2";
	    					discontinuous_clk = "no";
	    					dpcm_enable = "false";
	    					cil_settletime = "0";
	    					dynamic_pixel_bit_depth = "16";
	    					csi_pixel_bit_depth = "16";
	    					mode_type = "yuv";
	    					pixel_phase = "uyvy";
    
	    					active_w = "1920";
	    					active_h = "1536";
	    					readout_orientation = "0";
	    					line_length = "2200";
	    					inherent_gain = "1";
	    					pix_clk_hz = "200000000";
	    					serdes_pix_clk_hz = "200000000";

	    					gain_factor = "1000";
	    					min_gain_val = "1"; /* dB */
	    					max_gain_val = "30000"; /* dB */
	    					step_gain_val = "300"; /* 0.3 */
	    					default_gain = "1";
	    					min_hdr_ratio = "1";
	    					max_hdr_ratio = "1";
	    					framerate_factor = "1000000";
	    					min_framerate = "30000000";
	    					max_framerate = "30000000";
	    					step_framerate = "1";
	    					default_framerate = "30000000";
	    					exposure_factor = "1000000";
	    					min_exp_time = "59"; /*us, 2 lines*/
	    					max_exp_time = "33333";
	    					step_exp_time = "1";
	    					default_exp_time = "33333";/* us */
	    					embedded_metadata_height = "0";
	    				};
	    				mode2 {//sg2-gmsl2-gw5xxx(2880*1680)
	    					mclk_khz = "24000";
	    					num_lanes = "4";
	    					tegra_sinterface = "serial_e";
	    					vc_id = "2";
	    					discontinuous_clk = "no";
	    					dpcm_enable = "false";
	    					cil_settletime = "0";
	    					dynamic_pixel_bit_depth = "16";
	    					csi_pixel_bit_depth = "16";
	    					mode_type = "yuv";
	    					pixel_phase = "uyvy";
    
	    					active_w = "2880";
	    					active_h = "1860";
	    					readout_orientation = "0";
	    					line_length = "3200";
	    					inherent_gain = "1";
	    					pix_clk_hz = "300000000";
	    					serdes_pix_clk_hz = "400000000";

	    					gain_factor = "1000";
	    					min_gain_val = "1"; /* dB */
	    					max_gain_val = "30000"; /* dB */
	    					step_gain_val = "300"; /* 0.3 */
	    					default_gain = "1";
	    					min_hdr_ratio = "1";
	    					max_hdr_ratio = "1";
	    					framerate_factor = "1000000";
	    					min_framerate = "30000000";
	    					max_framerate = "30000000";
	    					step_framerate = "1";
	    					default_framerate = "30000000";
	    					exposure_factor = "1000000";
	    					min_exp_time = "59"; /*us, 2 lines*/
	    					max_exp_time = "33333";
	    					step_exp_time = "1";
	    					default_exp_time = "33333";/* us */
	    					embedded_metadata_height = "0";
	    				};
	    				mode3 {//sg2-gmsl2-gw5xxx(3840*2160)
	    					mclk_khz = "24000";
	    					num_lanes = "4";
	    					tegra_sinterface = "serial_e";
	    					vc_id = "2";
	    					discontinuous_clk = "no";
	    					dpcm_enable = "false";
	    					cil_settletime = "0";
	    					dynamic_pixel_bit_depth = "16";
	    					csi_pixel_bit_depth = "16";
	    					mode_type = "yuv";
	    					pixel_phase = "uyvy";
	    					//
	    					active_w = "3840";
	    					active_h = "2160";
	    					readout_orientation = "0";
	    					line_length = "4200";
	    					inherent_gain = "1";
	    					pix_clk_hz = "320000000";
	    					serdes_pix_clk_hz = "600000000";

	    					gain_factor = "1000";
	    					min_gain_val = "1"; /* dB */
	    					max_gain_val = "30000"; /* dB */
	    					step_gain_val = "300"; /* 0.3 */
	    					default_gain = "1";
	    					min_hdr_ratio = "1";
	    					max_hdr_ratio = "1";
	    					framerate_factor = "1000000";
	    					min_framerate = "30000000";
	    					max_framerate = "30000000";
	    					step_framerate = "1";
	    					default_framerate = "30000000";
	    					exposure_factor = "1000000";
	    					min_exp_time = "59"; /*us, 2 lines*/
	    					max_exp_time = "33333";
	    					step_exp_time = "1";
	    					default_exp_time = "33333";/* us */
	    					embedded_metadata_height = "0";
	    				};
	    				ports {
	    					#address-cells = <1>;
	    					#size-cells = <0>;
	    					port@0 {
	    						reg = <0>;
	    						sensor_out5: endpoint {
	    							vc-id = <2>;
	    							port-index = <4>;
	    							bus-width = <4>;
	    							remote-endpoint = <&jetson_csi_in5>;
	    						};
	    					};
	    				};
	    				gmsl-link {
	    					src-csi-port = "b";
	    					dst-csi-port = "a";
	    					serdes-csi-link = "b";
	    					csi-mode = "1x4";
	    					st-vc = <0>;
	    					vc-id = <2>;
	    					num-lanes = <4>;
	    					streams =  "ued-u1", "yuv16";
	    				};
	    			};
	    		};
	    		i2c@3 {
	    			cam_6@1b {
	    				compatible = "sensing,sgx-yuv-gmsl2-6";
	    				reg = <0x1b>;
	    				def-addr = <0x1a>;
	    				devnode = "video6";

	    				/* Physical dimensions of sensor */
	    				physical_w = "15.0";
	    				physical_h = "12.5";

	    				sensor_model ="sgx-yuv-gmsl2";

	    				/* Defines number of frames to be dropped by driver internally after applying */
	    				/* sensor crop settings. Some sensors send corrupt frames after applying */
	    				/* crop co-ordinates */
	    				post_crop_frame_drop = "0";

	    				/* Convert Gain to unit of dB (decibel) befor passing to kernel driver */
	    				use_decibel_gain = "true";

	    				/* enable CID_SENSOR_MODE_ID for sensor modes selection */
	    				use_sensor_mode_id = "true";

	    				mode0 {/*mode SENSOR_MODE_1920X1080_CROP_30FPS*/
	    					mclk_khz = "24000";
	    					num_lanes = "4";
	    					tegra_sinterface = "serial_g";
	    					vc_id = "1";
	    					discontinuous_clk = "no";
	    					dpcm_enable = "false";
	    					cil_settletime = "0";
	    					dynamic_pixel_bit_depth = "16";
	    					csi_pixel_bit_depth = "16";
	    					mode_type = "yuv";
	    					pixel_phase = "uyvy";
    
	    					active_w = "1920";
	    					active_h = "1080";
	    					readout_orientation = "0";
	    					line_length = "2200";
	    					inherent_gain = "1";
	    					pix_clk_hz = "150000000";
	    					serdes_pix_clk_hz = "300000000";

	    					gain_factor = "1000";
	    					min_gain_val = "1"; /* dB */
	    					max_gain_val = "30000"; /* dB */
	    					step_gain_val = "300"; /* 0.3 */
	    					default_gain = "1";
	    					min_hdr_ratio = "1";
	    					max_hdr_ratio = "1";
	    					framerate_factor = "1000000";
	    					min_framerate = "30000000";
	    					max_framerate = "30000000";
	    					step_framerate = "1";
	    					default_framerate = "30000000";
	    					exposure_factor = "1000000";
	    					min_exp_time = "59"; /*us, 2 lines*/
	    					max_exp_time = "33333";
	    					step_exp_time = "1";
	    					default_exp_time = "33333";/* us */
	    					embedded_metadata_height = "0";
	    				};
	    				mode1 {//sg2-gmsl2-gw5xxx(1920*1536)
	    					mclk_khz = "24000";
	    					num_lanes = "4";
	    					tegra_sinterface = "serial_g";
	    					vc_id = "1";
	    					discontinuous_clk = "no";
	    					dpcm_enable = "false";
	    					cil_settletime = "0";
	    					dynamic_pixel_bit_depth = "16";
	    					csi_pixel_bit_depth = "16";
	    					mode_type = "yuv";
	    					pixel_phase = "uyvy";
    
	    					active_w = "1920";
	    					active_h = "1536";
	    					readout_orientation = "0";
	    					line_length = "2200";
	    					inherent_gain = "1";
	    					pix_clk_hz = "200000000";
	    					serdes_pix_clk_hz = "200000000";

	    					gain_factor = "1000";
	    					min_gain_val = "1"; /* dB */
	    					max_gain_val = "30000"; /* dB */
	    					step_gain_val = "300"; /* 0.3 */
	    					default_gain = "1";
	    					min_hdr_ratio = "1";
	    					max_hdr_ratio = "1";
	    					framerate_factor = "1000000";
	    					min_framerate = "30000000";
	    					max_framerate = "30000000";
	    					step_framerate = "1";
	    					default_framerate = "30000000";
	    					exposure_factor = "1000000";
	    					min_exp_time = "59"; /*us, 2 lines*/
	    					max_exp_time = "33333";
	    					step_exp_time = "1";
	    					default_exp_time = "33333";/* us */
	    					embedded_metadata_height = "0";
	    				};
	    				mode2 {//sg2-gmsl2-gw5xxx(2880*1680)
	    					mclk_khz = "24000";
	    					num_lanes = "4";
	    					tegra_sinterface = "serial_g";
	    					vc_id = "1";
	    					discontinuous_clk = "no";
	    					dpcm_enable = "false";
	    					cil_settletime = "0";
	    					dynamic_pixel_bit_depth = "16";
	    					csi_pixel_bit_depth = "16";
	    					mode_type = "yuv";
	    					pixel_phase = "uyvy";
    
	    					active_w = "2880";
	    					active_h = "1860";
	    					readout_orientation = "0";
	    					line_length = "3200";
	    					inherent_gain = "1";
	    					pix_clk_hz = "300000000";
	    					serdes_pix_clk_hz = "400000000";

	    					gain_factor = "1000";
	    					min_gain_val = "1"; /* dB */
	    					max_gain_val = "30000"; /* dB */
	    					step_gain_val = "300"; /* 0.3 */
	    					default_gain = "1";
	    					min_hdr_ratio = "1";
	    					max_hdr_ratio = "1";
	    					framerate_factor = "1000000";
	    					min_framerate = "30000000";
	    					max_framerate = "30000000";
	    					step_framerate = "1";
	    					default_framerate = "30000000";
	    					exposure_factor = "1000000";
	    					min_exp_time = "59"; /*us, 2 lines*/
	    					max_exp_time = "33333";
	    					step_exp_time = "1";
	    					default_exp_time = "33333";/* us */
	    					embedded_metadata_height = "0";
	    				};
	    				mode3 {//sg2-gmsl2-gw5xxx(3840*2160)
	    					mclk_khz = "24000";
	    					num_lanes = "4";
	    					tegra_sinterface = "serial_g";
	    					vc_id = "1";
	    					discontinuous_clk = "no";
	    					dpcm_enable = "false";
	    					cil_settletime = "0";
	    					dynamic_pixel_bit_depth = "16";
	    					csi_pixel_bit_depth = "16";
	    					mode_type = "yuv";
	    					pixel_phase = "uyvy";
	    					//
	    					active_w = "3840";
	    					active_h = "2160";
	    					readout_orientation = "0";
	    					line_length = "4200";
	    					inherent_gain = "1";
	    					pix_clk_hz = "320000000";
	    					serdes_pix_clk_hz = "600000000";

	    					gain_factor = "1000";
	    					min_gain_val = "1"; /* dB */
	    					max_gain_val = "30000"; /* dB */
	    					step_gain_val = "300"; /* 0.3 */
	    					default_gain = "1";
	    					min_hdr_ratio = "1";
	    					max_hdr_ratio = "1";
	    					framerate_factor = "1000000";
	    					min_framerate = "30000000";
	    					max_framerate = "30000000";
	    					step_framerate = "1";
	    					default_framerate = "30000000";
	    					exposure_factor = "1000000";
	    					min_exp_time = "59"; /*us, 2 lines*/
	    					max_exp_time = "33333";
	    					step_exp_time = "1";
	    					default_exp_time = "33333";/* us */
	    					embedded_metadata_height = "0";
	    				};
	    				ports {
	    					#address-cells = <1>;
	    					#size-cells = <0>;
	    					port@0 {
	    						reg = <0>;
	    						sensor_out6: endpoint {
	    							vc-id = <1>;
	    							port-index = <6>;
	    							bus-width = <4>;
	    							remote-endpoint = <&jetson_csi_in6>;
	    						};
	    					};
	    				};
	    				gmsl-link {
	    					src-csi-port = "b";
	    					dst-csi-port = "a";
	    					serdes-csi-link = "a";
	    					csi-mode = "1x4";
	    					st-vc = <0>;
	    					vc-id = <1>;
	    					num-lanes = <4>;
	    					streams = "ued-u1","yuv16";
	    				};
	    			};
	    			cam_7@1c {
	    				compatible = "sensing,sgx-yuv-gmsl2-7";
	    				reg = <0x1c>;
	    				def-addr = <0x1a>;
	    				devnode = "video7";
    
	    				/* Physical dimensions of sensor */
	    				physical_w = "15.0";
	    				physical_h = "12.5";

	    				sensor_model ="sgx-yuv-gmsl2";

	    				/* Defines number of frames to be dropped by driver internally after applying */
	    				/* sensor crop settings. Some sensors send corrupt frames after applying */
	    				/* crop co-ordinates */
	    				post_crop_frame_drop = "0";

	    				/* Convert Gain to unit of dB (decibel) befor passing to kernel driver */
	    				use_decibel_gain = "true";

	    				/* enable CID_SENSOR_MODE_ID for sensor modes selection */
	    				use_sensor_mode_id = "true";

	    				mode0 {/*mode SENSOR_MODE_1920X1080_CROP_30FPS*/
	    					mclk_khz = "24000";
	    					num_lanes = "4";
	    					tegra_sinterface = "serial_g";
	    					vc_id = "2";
	    					discontinuous_clk = "no";
	    					dpcm_enable = "false";
	    					cil_settletime = "0";
	    					dynamic_pixel_bit_depth = "16";
	    					csi_pixel_bit_depth = "16";
	    					mode_type = "yuv";
	    					pixel_phase = "uyvy";
    
	    					active_w = "1920";
	    					active_h = "1080";
	    					readout_orientation = "0";
	    					line_length = "2200";
	    					inherent_gain = "1";
	    					pix_clk_hz = "150000000";
	    					serdes_pix_clk_hz = "300000000";

	    					gain_factor = "1000";
	    					min_gain_val = "1"; /* dB */
	    					max_gain_val = "30000"; /* dB */
	    					step_gain_val = "300"; /* 0.3 */
	    					default_gain = "1";
	    					min_hdr_ratio = "1";
	    					max_hdr_ratio = "1";
	    					framerate_factor = "1000000";
	    					min_framerate = "30000000";
	    					max_framerate = "30000000";
	    					step_framerate = "1";
	    					default_framerate = "30000000";
	    					exposure_factor = "1000000";
	    					min_exp_time = "59"; /*us, 2 lines*/
	    					max_exp_time = "33333";
	    					step_exp_time = "1";
	    					default_exp_time = "33333";/* us */
	    					embedded_metadata_height = "0";
	    				};
	    				mode1 {//sg2-gmsl2-gw5xxx(1920*1536)
	    					mclk_khz = "24000";
	    					num_lanes = "4";
	    					tegra_sinterface = "serial_g";
	    					vc_id = "2";
	    					discontinuous_clk = "no";
	    					dpcm_enable = "false";
	    					cil_settletime = "0";
	    					dynamic_pixel_bit_depth = "16";
	    					csi_pixel_bit_depth = "16";
	    					mode_type = "yuv";
	    					pixel_phase = "uyvy";
    
	    					active_w = "1920";
	    					active_h = "1536";
	    					readout_orientation = "0";
	    					line_length = "2200";
	    					inherent_gain = "1";
	    					pix_clk_hz = "200000000";
	    					serdes_pix_clk_hz = "200000000";

	    					gain_factor = "1000";
	    					min_gain_val = "1"; /* dB */
	    					max_gain_val = "30000"; /* dB */
	    					step_gain_val = "300"; /* 0.3 */
	    					default_gain = "1";
	    					min_hdr_ratio = "1";
	    					max_hdr_ratio = "1";
	    					framerate_factor = "1000000";
	    					min_framerate = "30000000";
	    					max_framerate = "30000000";
	    					step_framerate = "1";
	    					default_framerate = "30000000";
	    					exposure_factor = "1000000";
	    					min_exp_time = "59"; /*us, 2 lines*/
	    					max_exp_time = "33333";
	    					step_exp_time = "1";
	    					default_exp_time = "33333";/* us */
	    					embedded_metadata_height = "0";
	    				};
	    				mode2 {//sg2-gmsl2-gw5xxx(2880*1680)
	    					mclk_khz = "24000";
	    					num_lanes = "4";
	    					tegra_sinterface = "serial_g";
	    					vc_id = "2";
	    					discontinuous_clk = "no";
	    					dpcm_enable = "false";
	    					cil_settletime = "0";
	    					dynamic_pixel_bit_depth = "16";
	    					csi_pixel_bit_depth = "16";
	    					mode_type = "yuv";
	    					pixel_phase = "uyvy";
    
	    					active_w = "2880";
	    					active_h = "1860";
	    					readout_orientation = "0";
	    					line_length = "3200";
	    					inherent_gain = "1";
	    					pix_clk_hz = "300000000";
	    					serdes_pix_clk_hz = "400000000";

	    					gain_factor = "1000";
	    					min_gain_val = "1"; /* dB */
	    					max_gain_val = "30000"; /* dB */
	    					step_gain_val = "300"; /* 0.3 */
	    					default_gain = "1";
	    					min_hdr_ratio = "1";
	    					max_hdr_ratio = "1";
	    					framerate_factor = "1000000";
	    					min_framerate = "30000000";
	    					max_framerate = "30000000";
	    					step_framerate = "1";
	    					default_framerate = "30000000";
	    					exposure_factor = "1000000";
	    					min_exp_time = "59"; /*us, 2 lines*/
	    					max_exp_time = "33333";
	    					step_exp_time = "1";
	    					default_exp_time = "33333";/* us */
	    					embedded_metadata_height = "0";
	    				};
	    				mode3 {//sg2-gmsl2-gw5xxx(3840*2160)
	    					mclk_khz = "24000";
	    					num_lanes = "4";
	    					tegra_sinterface = "serial_g";
	    					vc_id = "2";
	    					discontinuous_clk = "no";
	    					dpcm_enable = "false";
	    					cil_settletime = "0";
	    					dynamic_pixel_bit_depth = "16";
	    					csi_pixel_bit_depth = "16";
	    					mode_type = "yuv";
	    					pixel_phase = "uyvy";
	    					//
	    					active_w = "3840";
	    					active_h = "2160";
	    					readout_orientation = "0";
	    					line_length = "4200";
	    					inherent_gain = "1";
	    					pix_clk_hz = "320000000";
	    					serdes_pix_clk_hz = "600000000";

	    					gain_factor = "1000";
	    					min_gain_val = "1"; /* dB */
	    					max_gain_val = "30000"; /* dB */
	    					step_gain_val = "300"; /* 0.3 */
	    					default_gain = "1";
	    					min_hdr_ratio = "1";
	    					max_hdr_ratio = "1";
	    					framerate_factor = "1000000";
	    					min_framerate = "30000000";
	    					max_framerate = "30000000";
	    					step_framerate = "1";
	    					default_framerate = "30000000";
	    					exposure_factor = "1000000";
	    					min_exp_time = "59"; /*us, 2 lines*/
	    					max_exp_time = "33333";
	    					step_exp_time = "1";
	    					default_exp_time = "33333";/* us */
	    					embedded_metadata_height = "0";
	    				};
	    				ports {
	    					#address-cells = <1>;
	    					#size-cells = <0>;
	    					port@0 {
	    						reg = <0>;
	    						sensor_out7: endpoint {
	    							vc-id = <2>;
	    							port-index = <6>;
	    							bus-width = <4>;
	    							remote-endpoint = <&jetson_csi_in7>;
	    						};
	    					};
	    				};
	    				gmsl-link {
	    					src-csi-port = "b";
	    					dst-csi-port = "a";
	    					serdes-csi-link = "b";
	    					csi-mode = "1x4";
	    					st-vc = <0>;
	    					vc-id = <2>;
	    					num-lanes = <4>;
	    					streams = "ued-u1", "yuv16";
	    				};
	    			};
	    		};
	    	};
	    };
    };
};

/ {

	tegra-camera-platform {
		compatible = "nvidia, tegra-camera-platform";

		num_csi_lanes = <16>;
		max_lane_speed = <4000000>;
		min_bits_per_pixel = <10>;
		vi_peak_byte_per_pixel = <2>;
		vi_bw_margin_pct = <25>;
		isp_peak_byte_per_pixel = <5>;
		isp_bw_margin_pct = <25>;

		/**
		 * The general guideline for naming badge_info contains 3 parts, and is as follows,
		 * The first part is the camera_board_id for the module; if the module is in a FFD
		 * platform, then use the platform name for this part.
		 * The second part contains the position of the module, ex. "rear" or "front".
		 * The third part contains the last 6 characters of a part number which is found
		 * in the module's specsheet from the vender.
		 */
		modules {
			module0 {
				// badge = "cam0_position0";
				// position = "position0";
				badge = "cam0_bottomleft";
				position = "bottomleft";
				orientation = "1";
				drivernode0 {
					/* Declare PCL support driver (classically known as guid)  */
					pcl_id = "v4l2_sensor";
					/* Driver v4l2 device name */
					devname = "sgx-yuv-gmsl2 30-001b";
					/* Declare the device-tree hierarchy to driver instance */
					// proc-device-tree = "/proc/device-tree/bus@0/i2c@3180000/tca9546@70/i2c@0/cam_0@1b";
					/* Declare the device-tree hierarchy to driver instance */
							sysfs-device-tree = "/sys/firmware/devicetree/base/bus@0/i2c@3180000/tca9546@70/i2c@0/cam_0@1b";
				};
			};
			module1 {
				// badge = "cam1_position1";
				// position = "position1";
				badge = "cam1_bottomright";
				position = "bottomright";
				orientation = "1";
				drivernode0 {
					/* Declare PCL support driver (classically known as guid)  */
					pcl_id = "v4l2_sensor";
					/* Driver v4l2 device name */
					devname = "sgx-yuv-gmsl2 30-001c";
					/* Declare the device-tree hierarchy to driver instance */
					// proc-device-tree = "/proc/device-tree/bus@0/i2c@3180000/tca9546@70/i2c@0/cam_1@1c";
					/* Declare the device-tree hierarchy to driver instance */
					sysfs-device-tree = "/sys/firmware/devicetree/base/bus@0/i2c@3180000/tca9546@70/i2c@0/cam_1@1c";				
				};
			};
			module2 {
				// badge = "cam2_position2";
				// position = "position2";
				badge = "cam2_centerleft";
				position = "centerleft";
				orientation = "1";
				drivernode0 {
					/* Declare PCL support driver (classically known as guid)  */
					pcl_id = "v4l2_sensor";
					/* Driver v4l2 device name */
					devname = "sgx-yuv-gmsl2 31-001b";
					/* Declare the device-tree hierarchy to driver instance */
					// proc-device-tree = "/proc/device-tree/bus@0/i2c@3180000/tca9546@70/i2c@1/cam_2@1b";
					/* Declare the device-tree hierarchy to driver instance */
					sysfs-device-tree = "/sys/firmware/devicetree/base/bus@0/i2c@3180000/tca9546@70/i2c@1/cam_2@1b";

				};
			};
			module3 {
				// badge = "cam3_position3";
				// position = "position3";
				badge = "cam3_centerright";
				position = "centerright";
				orientation = "1";
				drivernode0 {
					/* Declare PCL support driver (classically known as guid)  */
					pcl_id = "v4l2_sensor";
					/* Driver v4l2 device name */
					devname = "sgx-yuv-gmsl2 31-001c";
					/* Declare the device-tree hierarchy to driver instance */
					// proc-device-tree = "/proc/device-tree/bus@0/i2c@3180000/tca9546@70/i2c@1/cam_3@1c";
					/* Declare the device-tree hierarchy to driver instance */
					sysfs-device-tree = "/sys/firmware/devicetree/base/bus@0/i2c@3180000/tca9546@70/i2c@1/cam_3@1c";

				};
			};
			module4 {
				// badge = "cam4_position4";
				// position = "position4";
				badge = "cam4_topleft";
				position = "topleft";
				orientation = "1";
				drivernode0 {
					/* Declare PCL support driver (classically known as guid)  */
					pcl_id = "v4l2_sensor";
					/* Driver v4l2 device name */
					devname = "sgx-yuv-gmsl2 32-001b";
					/* Declare the device-tree hierarchy to driver instance */
					// proc-device-tree = "/proc/device-tree/bus@0/i2c@3180000/tca9546@70/i2c@2/cam_4@1b";
					/* Declare the device-tree hierarchy to driver instance */
					sysfs-device-tree = "/sys/firmware/devicetree/base/bus@0/i2c@3180000/tca9546@70/i2c@2/cam_4@1b";
				};
			};
			module5 {
				// badge = "cam5_position5";
				// position = "position5";
				badge = "cam5_topright";
				position = "topright";
				orientation = "1";
				drivernode0 {
					/* Declare PCL support driver (classically known as guid)  */
					pcl_id = "v4l2_sensor";
					/* Driver v4l2 device name */
					devname = "sgx-yuv-gmsl2 32-001c";
					/* Declare the device-tree hierarchy to driver instance */
					// proc-device-tree = "/proc/device-tree/bus@0/i2c@3180000/tca9546@70/i2c@2/cam_5@1c";
					/* Declare the device-tree hierarchy to driver instance */
					sysfs-device-tree = "/sys/firmware/devicetree/base/bus@0/i2c@3180000/tca9546@70/i2c@2/cam_5@1c";

				};
			};
			module6 {
				badge = "cam6_rear";
				position = "rear";
				orientation = "1";
				drivernode0 {
					/* Declare PCL support driver (classically known as guid)  */
					pcl_id = "v4l2_sensor";
					/* Driver v4l2 device name */
					devname = "sgx-yuv-gmsl2 33-001b";
					/* Declare the device-tree hierarchy to driver instance */
					// proc-device-tree = "/proc/device-tree/bus@0/i2c@3180000/tca9546@70/i2c@3/cam_6@1b";
					/* Declare the device-tree hierarchy to driver instance */
					sysfs-device-tree = "/sys/firmware/devicetree/base/bus@0/i2c@3180000/tca9546@70/i2c@3/cam_6@1b";
				};
			};
			module7 {
				badge = "cam7_front";
				position = "front";
				orientation = "1";
				drivernode0 {
					/* Declare PCL support driver (classically known as guid)  */
					pcl_id = "v4l2_sensor";
					/* Driver v4l2 device name */
					devname = "sgx-yuv-gmsl2 33-001c";
					/* Declare the device-tree hierarchy to driver instance */
					//proc-device-tree = "/proc/device-tree/bus@0/i2c@3180000/tca9546@70/i2c@3/cam_7@1c";
					/* Declare the device-tree hierarchy to driver instance */
					sysfs-device-tree = "/sys/firmware/devicetree/base/bus@0/i2c@3180000/tca9546@70/i2c@3/cam_7@1c";
				};
			};
		};
	};
};
